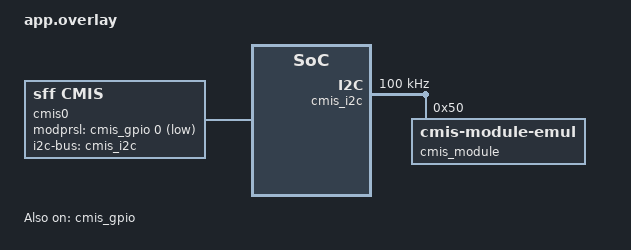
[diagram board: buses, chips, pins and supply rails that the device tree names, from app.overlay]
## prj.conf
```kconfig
CONFIG_ZTEST=y
CONFIG_I2C=y
CONFIG_I2C_EMUL=y
CONFIG_EMUL=y

CONFIG_SFP=y
CONFIG_SFP_CMIS=y
CONFIG_EMUL_CMIS=y

CONFIG_SFP_CMIS_SHELL=y
CONFIG_SHELL=y
CONFIG_SHELL_BACKEND_SERIAL=n
CONFIG_SHELL_BACKEND_DUMMY=y
CONFIG_SHELL_BACKEND_DUMMY_BUF_SIZE=2048
CONFIG_SHELL_VT100_COMMANDS=n
CONFIG_GPIO=y
CONFIG_GPIO_EMUL=y
```

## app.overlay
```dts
/*
 * Copyright The Zephyr Project Contributors
 *
 * SPDX-License-Identifier: Apache-2.0
 */

#include <zephyr/dt-bindings/gpio/gpio.h>
#include <zephyr/dt-bindings/i2c/i2c.h>

/ {
	cmis_i2c: i2c@100 {
		status = "okay";
		compatible = "zephyr,i2c-emul-controller";
		clock-frequency = <I2C_BITRATE_STANDARD>;
		#address-cells = <1>;
		#size-cells = <0>;
		reg = <0x100 4>;

		/* the module plugged into the cage */
		cmis_module: cmis-module@50 {
			compatible = "zephyr,cmis-module-emul";
			reg = <0x50>;
			status = "okay";
		};
	};

	cmis_gpio: gpio@200 {
		status = "okay";
		compatible = "zephyr,gpio-emul";
		reg = <0x200 4>;
		gpio-controller;
		#gpio-cells = <2>;
		ngpios = <8>;
	};

	cmis0: qsfp-cage {
		compatible = "sff,cmis";
		i2c-bus = <&cmis_i2c>;
		modprsl-gpios = <&cmis_gpio 0 GPIO_ACTIVE_LOW>;
		status = "okay";
	};
};
```

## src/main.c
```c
/*
 * Copyright The Zephyr Project Contributors
 *
 * SPDX-License-Identifier: Apache-2.0
 */

#include <string.h>

#include <zephyr/cmis/cmis.h>
#include <zephyr/device.h>
#include <zephyr/drivers/cmis.h>
#include <zephyr/drivers/emul.h>
#include <zephyr/drivers/gpio/gpio_emul.h>
#include <zephyr/drivers/i2c.h>
#include <zephyr/kernel.h>
#include <zephyr/shell/shell.h>
#include <zephyr/shell/shell_dummy.h>
#include <zephyr/sys/atomic.h>
#include <zephyr/ztest.h>

#include "emul_cmis.h"

#define CAGE_NODE DT_NODELABEL(cmis0)

static const struct device *const cmis_dev = DEVICE_DT_GET(CAGE_NODE);
static const struct emul *const cmis_emul = EMUL_DT_GET(DT_NODELABEL(cmis_module));
static const struct i2c_dt_spec cmis_bus = I2C_DT_SPEC_GET(DT_NODELABEL(cmis_module));
static const struct device *const presence_port = DEVICE_DT_GET(DT_NODELABEL(cmis_gpio));
static const gpio_pin_t presence_pin = DT_GPIO_PIN(CAGE_NODE, modprsl_gpios);

/* ModPrsL is pulled low by an inserted module (active low). */
static void set_module_present(bool present)
{
	zassert_ok(gpio_emul_input_set(presence_port, presence_pin, present ? 0 : 1));
}

/* Read one Lower Memory byte the way a host interrupt handler would. */
static uint8_t raw_read(uint8_t offset)
{
	uint8_t val = 0xFFU;

	zassert_ok(i2c_write_read_dt(&cmis_bus, &offset, 1U, &val, 1U));
	return val;
}

static void *cmis_setup(void)
{
	if (IS_ENABLED(CONFIG_USERSPACE)) {
		k_object_access_all_grant(cmis_dev);
	}

	return NULL;
}

/* Runs in supervisor mode, also for user-mode tests. */
static void cmis_before(void *fixture)
{
	ARG_UNUSED(fixture);
	set_module_present(true);
	cmis_emul_reset(cmis_emul);
}

ZTEST(cmis_driver, test_device_ready)
{
	zassert_true(device_is_ready(cmis_dev));
}

ZTEST_USER(cmis_driver, test_read_id)
{
	struct cmis_id id;

	zassert_ok(cmis_read_id(cmis_dev, &id));
	zassert_equal(id.identifier, CMIS_ID_QSFP_DD);
	zassert_equal(id.cmis_major, 5U);
	zassert_equal(id.cmis_minor, 0U);
	zassert_equal(id.module_state, CMIS_MODULE_STATE_READY);
	zassert_equal(id.media_type, CMIS_MEDIA_OPTICAL_SMF);
	zassert_equal(id.power_class, 8U);
	zassert_equal(id.max_power_mw, 14000U, "got %u", id.max_power_mw);
	zassert_equal(strcmp(id.vendor_name, "ACME PHOTONICS"), 0, "got '%s'", id.vendor_name);
	zassert_equal(strcmp(id.vendor_pn, "QSFP-DD-400G"), 0, "got '%s'", id.vendor_pn);
	zassert_equal(strcmp(id.vendor_sn, "QD2400001234"), 0, "got '%s'", id.vendor_sn);
}

ZTEST_USER(cmis_driver, test_read_monitors)
{
	struct cmis_monitors mon;

	zassert_ok(cmis_read_monitors(cmis_dev, &mon));
	zassert_equal(mon.temp_mdegc, 45500, "got %d", mon.temp_mdegc);
	zassert_equal(mon.vcc_uv, 3300000U, "got %u", mon.vcc_uv);
	zassert_equal(mon.flags, CMIS_FLAG_TEMP_HIGH_ALARM | CMIS_FLAG_VCC_HIGH_ALARM,
		      "got 0x%02x", mon.flags);
}

ZTEST(cmis_driver, test_monitor_flags_reported_once)
{
	struct cmis_monitors mon;

	zassert_ok(cmis_read_monitors(cmis_dev, &mon));
	zassert_equal(mon.flags, CMIS_FLAG_TEMP_HIGH_ALARM | CMIS_FLAG_VCC_HIGH_ALARM);

	/* Latched flags are cleared by the read: the next read sees no event. */
	zassert_ok(cmis_read_monitors(cmis_dev, &mon));
	zassert_equal(mon.flags, 0U, "got 0x%02x", mon.flags);
	zassert_equal(mon.temp_mdegc, 45500, "monitor values are not latched");
}

ZTEST(cmis_driver, test_reads_keep_unreported_flags)
{
	struct cmis_monitors mon;
	struct cmis_id id;

	zassert_ok(cmis_read_id(cmis_dev, &id));
	zassert_ok(cmis_read_monitors(cmis_dev, &mon));

	/* ModuleStateChanged (byte 8) is not returned by either call, so it
	 * must still be pending for the host's interrupt handling.
	 */
	zassert_equal(raw_read(CMIS_EMUL_MODULE_STATE_FLAGS) & CMIS_EMUL_STATE_CHANGED,
		      CMIS_EMUL_STATE_CHANGED);

	/* read_id() must not have consumed the byte 9 flags either. */
	zassert_equal(mon.flags, CMIS_FLAG_TEMP_HIGH_ALARM | CMIS_FLAG_VCC_HIGH_ALARM);
}

ZTEST(cmis_driver, test_empty_cage)
{
	struct cmis_monitors mon;
	struct cmis_id id;

	set_module_present(false);
	zassert_equal(cmis_read_id(cmis_dev, &id), -ENODEV);
	zassert_equal(cmis_read_monitors(cmis_dev, &mon), -ENODEV);

	set_module_present(true);
	zassert_ok(cmis_read_id(cmis_dev, &id));
}

ZTEST_USER(cmis_driver, test_read_thresholds)
{
	struct cmis_thresholds thr;

	zassert_ok(cmis_read_thresholds(cmis_dev, &thr));
	zassert_equal(thr.temp_mdegc.high_alarm, 75000);
	zassert_equal(thr.temp_mdegc.low_alarm, -5000, "got %d", thr.temp_mdegc.low_alarm);
	zassert_equal(thr.vcc_uv.low_alarm, 2970000);
	zassert_equal(thr.tx_bias_ua.high_alarm, 100000, "x2 scaling from Page 01h");
	zassert_equal(thr.rx_power_nw.low_alarm, 63100);
}

ZTEST_USER(cmis_driver, test_read_lanes)
{
	struct cmis_lane_status lanes[CMIS_LANES_PER_BANK];

	zassert_ok(cmis_read_lanes(cmis_dev, lanes));

	for (uint8_t i = 0U; i < CMIS_LANES_PER_BANK; i++) {
		zassert_equal(lanes[i].dp_state, CMIS_DP_STATE_ACTIVATED, "lane %u", i + 1U);
	}
	zassert_equal(lanes[0].tx_power_nw, 1258900U);
	zassert_equal(lanes[0].tx_bias_ua, 56000U, "got %u", lanes[0].tx_bias_ua);
	zassert_equal(lanes[0].rx_power_nw, 501200U);
	zassert_equal(lanes[0].flags, 0U);
	zassert_equal(lanes[2].rx_power_nw, 1000U);
	zassert_equal(lanes[2].flags,
		      CMIS_LANE_FLAG_RX_LOS | CMIS_LANE_FLAG_RX_CDR_LOL |
			      CMIS_LANE_FLAG_RX_POWER_LOW_ALARM,
		      "got 0x%x", lanes[2].flags);
}

ZTEST(cmis_driver, test_lane_flags_reported_once)
{
	struct cmis_lane_status lanes[CMIS_LANES_PER_BANK];

	zassert_ok(cmis_read_lanes(cmis_dev, lanes));
	zassert_not_equal(lanes[2].flags, 0U);

	zassert_ok(cmis_read_lanes(cmis_dev, lanes));
	zassert_equal(lanes[2].flags, 0U, "lane flags are cleared on read");
	zassert_equal(lanes[2].rx_power_nw, 1000U, "monitor values are not latched");
}

ZTEST(cmis_driver, test_paged_reads_on_empty_cage)
{
	struct cmis_lane_status lanes[CMIS_LANES_PER_BANK];
	struct cmis_thresholds thr;

	set_module_present(false);
	zassert_equal(cmis_read_thresholds(cmis_dev, &thr), -ENODEV);
	zassert_equal(cmis_read_lanes(cmis_dev, lanes), -ENODEV);
}

ZTEST(cmis_driver, test_page_switching)
{
	struct cmis_lane_status lanes[CMIS_LANES_PER_BANK];
	struct cmis_id id;

	/* Page 00h content must be read correctly after Page 11h was selected. */
	zassert_ok(cmis_read_lanes(cmis_dev, lanes));
	zassert_ok(cmis_read_id(cmis_dev, &id));
	zassert_equal(strcmp(id.vendor_pn, "QSFP-DD-400G"), 0, "got '%s'", id.vendor_pn);
}

#define RACE_LOOPS 25
#define RACE_STACK 2048

static K_THREAD_STACK_DEFINE(race_stack_a, RACE_STACK);
static K_THREAD_STACK_DEFINE(race_stack_b, RACE_STACK);
static struct k_thread race_thread_a;
static struct k_thread race_thread_b;
static atomic_t race_errors;

static void race_read_id(void *p1, void *p2, void *p3)
{
	struct cmis_id id;

	ARG_UNUSED(p1);
	ARG_UNUSED(p2);
	ARG_UNUSED(p3);

	for (int i = 0; i < RACE_LOOPS; i++) {
		if ((cmis_read_id(cmis_dev, &id) != 0) ||
		    (strcmp(id.vendor_pn, "QSFP-DD-400G") != 0)) {
			atomic_inc(&race_errors);
		}
	}
}

static void race_read_lanes(void *p1, void *p2, void *p3)
{
	struct cmis_lane_status lanes[CMIS_LANES_PER_BANK];

	ARG_UNUSED(p1);
	ARG_UNUSED(p2);
	ARG_UNUSED(p3);

	for (int i = 0; i < RACE_LOOPS; i++) {
		if ((cmis_read_lanes(cmis_dev, lanes) != 0) || (lanes[0].tx_power_nw != 1258900U)) {
			atomic_inc(&race_errors);
		}
	}
}

ZTEST(cmis_driver, test_concurrent_paged_reads)
{
	/* The emulator yields after each page select, so without serialization
	 * in the driver the two threads read each other's page.
	 */
	cmis_emul_set_yield_on_select(cmis_emul, true);
	atomic_set(&race_errors, 0);

	k_thread_create(&race_thread_a, race_stack_a, RACE_STACK, race_read_id, NULL, NULL, NULL,
			K_PRIO_PREEMPT(1), 0, K_NO_WAIT);
	k_thread_create(&race_thread_b, race_stack_b, RACE_STACK, race_read_lanes, NULL, NULL,
			NULL, K_PRIO_PREEMPT(1), 0, K_NO_WAIT);
	zassert_ok(k_thread_join(&race_thread_a, K_SECONDS(5)));
	zassert_ok(k_thread_join(&race_thread_b, K_SECONDS(5)));

	cmis_emul_set_yield_on_select(cmis_emul, false);
	zassert_equal(atomic_get(&race_errors), 0, "%d reads returned another page",
		      (int)atomic_get(&race_errors));
}

static const char *shell_run(const char *cmd)
{
	const struct shell *sh = shell_backend_dummy_get_ptr();
	size_t size;

	zassert_true(WAIT_FOR(shell_ready(sh), 20000, k_msleep(1)), "dummy shell not ready");

	shell_backend_dummy_clear_output(sh);
	zassert_ok(shell_execute_cmd(sh, cmd), "'%s' failed", cmd);

	return shell_backend_dummy_get_output(sh, &size);
}

ZTEST(cmis_driver, test_shell_lanes_and_thresholds)
{
	char cmd[48];
	const char *out;

	(void)snprintf(cmd, sizeof(cmd), "cmis lanes %s", cmis_dev->name);
	out = shell_run(cmd);
	zassert_not_null(strstr(out, "rx-los rx-cdr-lol rx-power-low-alarm"), "%s", out);
	zassert_not_null(strstr(out, "1258.9"), "%s", out);

	(void)snprintf(cmd, sizeof(cmd), "cmis thresholds %s", cmis_dev->name);
	out = shell_run(cmd);
	zassert_not_null(strstr(out, "100000"), "%s", out);
}

ZTEST_SUITE(cmis_driver, NULL, cmis_setup, cmis_before, NULL, NULL);
```
